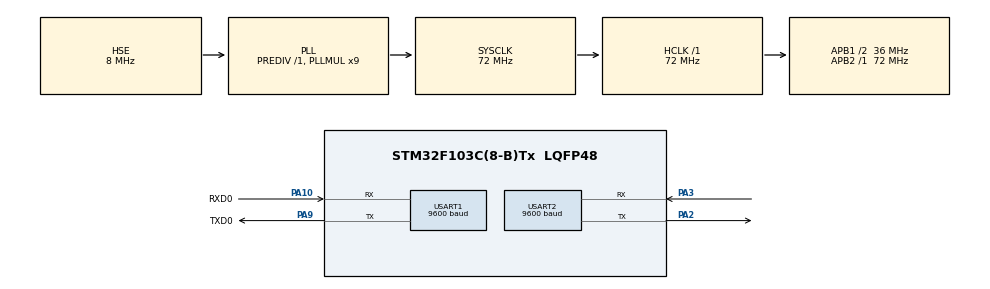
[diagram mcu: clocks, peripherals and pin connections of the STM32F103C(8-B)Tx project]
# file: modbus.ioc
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Mcu.Family=STM32F1
Mcu.Name=STM32F103C(8-B)Tx
Mcu.Package=LQFP48
NVIC.PriorityGroup=NVIC_PRIORITYGROUP_4
NVIC.TIM2_IRQn=true\:2\:0\:true\:false\:true\:true\:true\:true
NVIC.USART1_IRQn=true\:3\:0\:true\:false\:true\:true\:true\:true
PA10.GPIO_Label=RXD0
PA10.Mode=Asynchronous
PA10.Signal=USART1_RX
PA13.Mode=Serial_Wire
PA13.Signal=SYS_JTMS-SWDIO
PA14.Mode=Serial_Wire
PA14.Signal=SYS_JTCK-SWCLK
PA2.Mode=Asynchronous
PA2.Signal=USART2_TX
PA3.Mode=Asynchronous
PA3.Signal=USART2_RX
PA9.GPIO_Label=TXD0
PA9.Mode=Asynchronous
PA9.Signal=USART1_TX
PD0-OSC_IN.Mode=HSE-External-Oscillator
PD0-OSC_IN.Signal=RCC_OSC_IN
PD1-OSC_OUT.Mode=HSE-External-Oscillator
PD1-OSC_OUT.Signal=RCC_OSC_OUT
ProjectManager.HeapSize=0x200
ProjectManager.StackSize=0x400
ProjectManager.TargetToolchain=MDK-ARM V5
RCC.AHBFreq_Value=72000000
RCC.APB1CLKDivider=RCC_HCLK_DIV2
RCC.APB1Freq_Value=36000000
RCC.APB1TimFreq_Value=72000000
RCC.APB2Freq_Value=72000000
RCC.APB2TimFreq_Value=72000000
RCC.HCLKFreq_Value=72000000
RCC.PLLMUL=RCC_PLL_MUL9
RCC.PLLSourceVirtual=RCC_PLLSOURCE_HSE
RCC.SYSCLKFreq_VALUE=72000000
RCC.SYSCLKSource=RCC_SYSCLKSOURCE_PLLCLK
RCC.USBFreq_Value=72000000
TIM2.AutoReloadPreload=TIM_AUTORELOAD_PRELOAD_ENABLE
TIM2.Period=9999
TIM2.Prescaler=7199
USART1.BaudRate=9600
USART1.VirtualMode=VM_ASYNC
USART2.BaudRate=9600
USART2.VirtualMode=VM_ASYNC
VP_TIM2_VS_ClockSourceINT.Mode=Internal
board=custom

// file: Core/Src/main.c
/* USER CODE BEGIN Header */
/**
  ******************************************************************************
  * @file           : main.c
  * @brief          : Main program body
  ******************************************************************************
  * @attention
  *
  * Copyright (c) 2023 STMicroelectronics.
  * All rights reserved.
  *
  * This software is licensed under terms that can be found in the LICENSE file
  * in the root directory of this software component.
  * If no LICENSE file comes with this software, it is provided AS-IS.
  *
  ******************************************************************************
  */
/* USER CODE END Header */
#include "main.h"
#include "tim.h"
#include "usart.h"
#include "gpio.h"

/* USER CODE BEGIN Includes */
#include <stdio.h>
#include "modbus.h"
/* USER CODE END Includes */

/* USER CODE BEGIN PV */
uint16_t Reg[]={0x0001,  //本设备中寄存器值
					 0x0001,
					 0x0001,
					 0x0001,
					 0x0001,
					 0x0001,
					 0x0001,
					 0x0001,
					 0x0001,
					 0x0001,
					 0x0001,
	                 0x0001,
					 0x0001,
					 0x0001,
					 0x0001,
					 0x0001,
					 0x0001,
					};
/* USER CODE END PV */

void SystemClock_Config(void);

/* USER CODE BEGIN 0 */
extern uint8_t sbuf;

int fputc(int ch,FILE *f)
{
    //采用轮询方式发送1字节数据，超时时间设置为无限等待
    HAL_UART_Transmit(&huart2,(uint8_t *)&ch,1,HAL_MAX_DELAY);
    return ch;
}

int fgetc(FILE *f)
{
    uint8_t ch;
    // 采用轮询方式接收 1字节数据，超时时间设置为无限等待
    HAL_UART_Receive( &huart2,(uint8_t*)&ch,1, HAL_MAX_DELAY);
    return ch;
}
/* USER CODE END 0 */

int main(void)
{

  /* MCU Configuration--------------------------------------------------------*/

  /* Reset of all peripherals, Initializes the Flash interface and the Systick. */
  HAL_Init();

  /* Configure the system clock */
  SystemClock_Config();

  /* Initialize all configured peripherals */
  MX_GPIO_Init();
  MX_TIM2_Init();
  MX_USART1_UART_Init();
  MX_USART2_UART_Init();
  /* USER CODE BEGIN 2 */
  Modbus_Init();        //Modbus初始化

  HAL_TIM_Base_Start_IT(&htim2);    //使能定时器2中断
  HAL_UART_Receive_IT(&huart1, &sbuf, sizeof(sbuf));
  /* USER CODE END 2 */

  /* Infinite loop */
  /* USER CODE BEGIN WHILE */
  while (1)
  {
     Mosbus_Event(); //处理ModBus数据
    /* USER CODE END WHILE */

  }
}

void SystemClock_Config(void)
{
  RCC_OscInitTypeDef RCC_OscInitStruct = {0};
  RCC_ClkInitTypeDef RCC_ClkInitStruct = {0};

  /** Initializes the RCC Oscillators according to the specified parameters
  * in the RCC_OscInitTypeDef structure.
  */
  RCC_OscInitStruct.OscillatorType = RCC_OSCILLATORTYPE_HSE;
  RCC_OscInitStruct.HSEState = RCC_HSE_ON;
  RCC_OscInitStruct.HSEPredivValue = RCC_HSE_PREDIV_DIV1;
  RCC_OscInitStruct.HSIState = RCC_HSI_ON;
  RCC_OscInitStruct.PLL.PLLState = RCC_PLL_ON;
  RCC_OscInitStruct.PLL.PLLSource = RCC_PLLSOURCE_HSE;
  RCC_OscInitStruct.PLL.PLLMUL = RCC_PLL_MUL9;
  if (HAL_RCC_OscConfig(&RCC_OscInitStruct) != HAL_OK)
  {
    Error_Handler();
  }

  /** Initializes the CPU, AHB and APB buses clocks
  */
  RCC_ClkInitStruct.ClockType = RCC_CLOCKTYPE_HCLK|RCC_CLOCKTYPE_SYSCLK
                              |RCC_CLOCKTYPE_PCLK1|RCC_CLOCKTYPE_PCLK2;
  RCC_ClkInitStruct.SYSCLKSource = RCC_SYSCLKSOURCE_PLLCLK;
  RCC_ClkInitStruct.AHBCLKDivider = RCC_SYSCLK_DIV1;
  RCC_ClkInitStruct.APB1CLKDivider = RCC_HCLK_DIV2;
  RCC_ClkInitStruct.APB2CLKDivider = RCC_HCLK_DIV1;

  if (HAL_RCC_ClockConfig(&RCC_ClkInitStruct, FLASH_LATENCY_2) != HAL_OK)
  {
    Error_Handler();
  }
}

void Error_Handler(void)
{
  __disable_irq();
  while (1)
  {
  }
}
